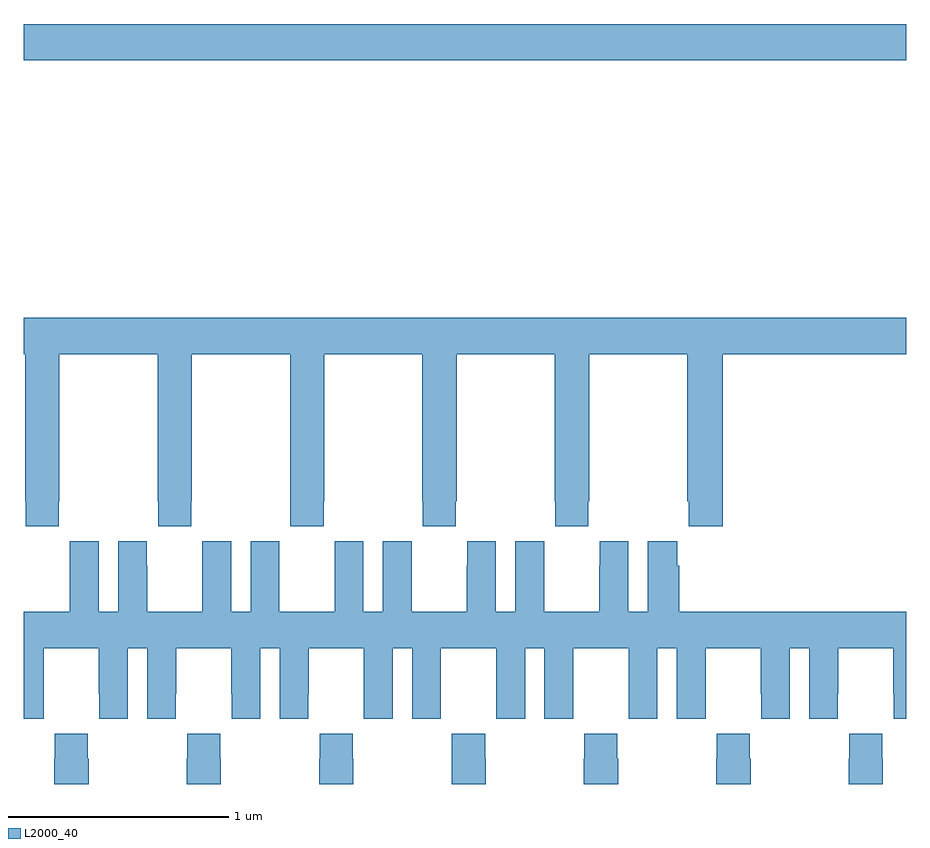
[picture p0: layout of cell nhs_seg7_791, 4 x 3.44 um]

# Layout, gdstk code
import gdstk
lib = gdstk.Library(unit=1e-6, precision=1e-09)
def R(c, l, rs):  # rectangles x0, y0, x1, y1
    for r in rs: c.add(gdstk.rectangle(r[:2], r[2:], *l))
def P(c, l, *ps):  # polygons
    for p in ps: c.add(gdstk.Polygon(p, *l))
L2000_40 = (2000, 40)

nhs_seg7_791 = lib.new_cell('nhs_seg7_791')
R(nhs_seg7_791, L2000_40, [(171,1003.28,175,1003.444)])
P(nhs_seg7_791, L2000_40, [(171.159,1001.281),(171.162,1001.281),(171.162,1001.948),(171.607,1001.948),(171.607,1001.281),(171.609,1001.281),(171.609,1001.169),(171.759,1001.169),(171.759,1001.281),(171.762,1001.281),(171.762,1001.948),(172.207,1001.948),(172.207,1001.281),(172.209,1001.281),(172.209,1001.169),(172.359,1001.169),(172.359,1001.281),(172.362,1001.281),(172.362,1001.948),(172.807,1001.948),(172.807,1001.281),(172.809,1001.281),(172.809,1001.169),(172.959,1001.169),(172.959,1001.281),(172.962,1001.281),(172.962,1001.948),(173.407,1001.948),(173.407,1001.281),(173.409,1001.281),(173.409,1001.169),(173.559,1001.169),(173.559,1001.281),(173.562,1001.281),(173.562,1001.948),(174.007,1001.948),(174.007,1001.281),(174.013,1001.281),(174.013,1001.169),(174.167,1001.169),(174.167,1001.948),(175,1001.948),(175,1002.112),(171,1002.112),(171,1001.948),(171.007,1001.948),(171.007,1001.281),(171.009,1001.281),(171.009,1001.169),(171.159,1001.169)],
  [(171.09,1000.408),(171.091,1000.408),(171.091,1000.616),(171.341,1000.616),(171.341,1000.408),(171.342,1000.408),(171.342,1000.296),(171.472,1000.296),(171.472,1000.616),(171.56,1000.616),(171.56,1000.296),(171.69,1000.296),(171.69,1000.408),(171.691,1000.408),(171.691,1000.616),(171.941,1000.616),(171.941,1000.408),(171.942,1000.408),(171.942,1000.296),(172.072,1000.296),(172.072,1000.616),(172.16,1000.616),(172.16,1000.296),(172.29,1000.296),(172.29,1000.408),(172.291,1000.408),(172.291,1000.616),(172.541,1000.616),(172.541,1000.408),(172.542,1000.408),(172.542,1000.296),(172.672,1000.296),(172.672,1000.616),(172.76,1000.616),(172.76,1000.296),(172.89,1000.296),(172.89,1000.408),(172.891,1000.408),(172.891,1000.616),(173.141,1000.616),(173.141,1000.408),(173.142,1000.408),(173.142,1000.296),(173.272,1000.296),(173.272,1000.616),(173.36,1000.616),(173.36,1000.296),(173.49,1000.296),(173.49,1000.408),(173.491,1000.408),(173.491,1000.616),(173.741,1000.616),(173.741,1000.408),(173.742,1000.408),(173.742,1000.296),(173.872,1000.296),(173.872,1000.616),(173.96,1000.616),(173.96,1000.296),(174.09,1000.296),(174.09,1000.408),(174.091,1000.408),(174.091,1000.616),(174.341,1000.616),(174.341,1000.408),(174.342,1000.408),(174.342,1000.296),(174.472,1000.296),(174.472,1000.616),(174.56,1000.616),(174.56,1000.296),(174.69,1000.296),(174.69,1000.408),(174.691,1000.408),(174.691,1000.616),(174.941,1000.616),(174.941,1000.408),(174.942,1000.408),(174.942,1000.296),(175,1000.296),(175,1000.78),(173.972,1000.78),(173.972,1000.988),(173.962,1000.988),(173.962,1001.101),(173.828,1001.101),(173.828,1000.78),(173.74,1000.78),(173.74,1001.101),(173.61,1001.101),(173.61,1000.988),(173.609,1000.988),(173.609,1000.78),(173.359,1000.78),(173.359,1000.988),(173.358,1000.988),(173.358,1001.101),(173.228,1001.101),(173.228,1000.78),(173.14,1000.78),(173.14,1001.101),(173.01,1001.101),(173.01,1000.988),(173.009,1000.988),(173.009,1000.78),(172.759,1000.78),(172.759,1000.988),(172.758,1000.988),(172.758,1001.101),(172.628,1001.101),(172.628,1000.78),(172.54,1000.78),(172.54,1001.101),(172.41,1001.101),(172.41,1000.988),(172.409,1000.988),(172.409,1000.78),(172.159,1000.78),(172.159,1000.988),(172.158,1000.988),(172.158,1001.101),(172.028,1001.101),(172.028,1000.78),(171.94,1000.78),(171.94,1001.101),(171.81,1001.101),(171.81,1000.988),(171.809,1000.988),(171.809,1000.78),(171.559,1000.78),(171.559,1000.988),(171.558,1000.988),(171.558,1001.101),(171.428,1001.101),(171.428,1000.78),(171.34,1000.78),(171.34,1001.101),(171.21,1001.101),(171.21,1000.988),(171.209,1000.988),(171.209,1000.78),(171,1000.78),(171,1000.296),(171.09,1000.296)],
  [(174.741,1000.115),(174.739,1000.115),(174.739,1000),(174.894,1000),(174.894,1000.115),(174.891,1000.115),(174.891,1000.228),(174.741,1000.228)],
  [(174.294,1000.115),(174.291,1000.115),(174.291,1000.228),(174.141,1000.228),(174.141,1000.115),(174.139,1000.115),(174.139,1000),(174.294,1000)],
  [(173.694,1000.115),(173.691,1000.115),(173.691,1000.228),(173.541,1000.228),(173.541,1000.115),(173.539,1000.115),(173.539,1000),(173.694,1000)],
  [(173.094,1000.115),(173.091,1000.115),(173.091,1000.228),(172.941,1000.228),(172.941,1000.115),(172.939,1000.115),(172.939,1000),(173.094,1000)],
  [(172.494,1000.115),(172.491,1000.115),(172.491,1000.228),(172.341,1000.228),(172.341,1000.115),(172.339,1000.115),(172.339,1000),(172.494,1000)],
  [(171.894,1000.115),(171.891,1000.115),(171.891,1000.228),(171.741,1000.228),(171.741,1000.115),(171.739,1000.115),(171.739,1000),(171.894,1000)],
  [(171.294,1000.115),(171.291,1000.115),(171.291,1000.228),(171.141,1000.228),(171.141,1000.115),(171.139,1000.115),(171.139,1000),(171.294,1000)])

lib.write_gds('nhs_seg7_791.gds')
